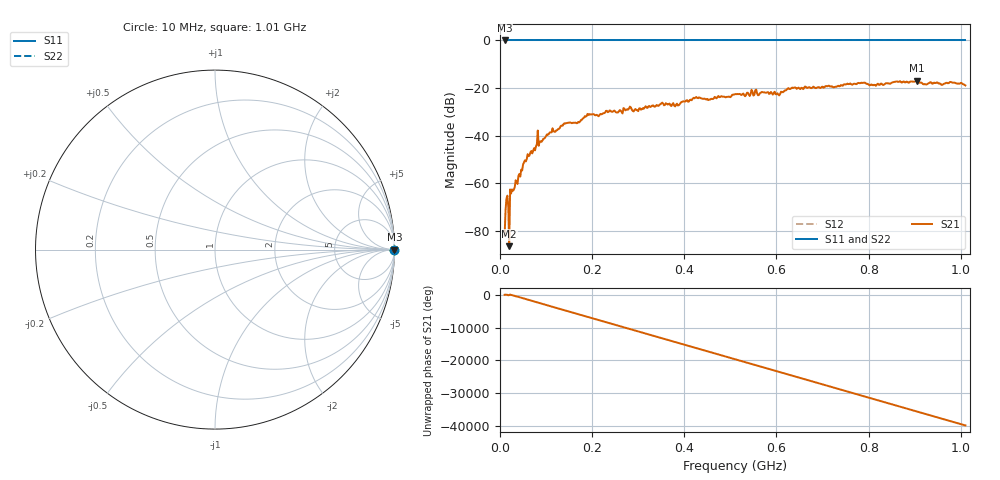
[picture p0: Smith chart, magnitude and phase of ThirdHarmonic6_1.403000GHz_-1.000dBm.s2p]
! 8/16/2025 4:03:11 PM
! C:\ANRITSUVNA\TEMP\TEMP.S2P
! CHANNEL.1
! TR.MEASUREMENT
! RAW.DATA
! RF.CORRECTION.OFF
! AVERAGING.OFF
! IF.BANDWIDTH: 5KHZ
! SWEEPTYPE:  FREQ.SWEEP(Linear)
! Reference Plane Port Info
! PORT:  PORT1  PORT2
! DISTANCE:  0  m  0  m
! TIME:  0  s  0  s
! PHASE.OFFSET:  0  deg.  0  deg.
! LOSS:  0  dB  0  dB
! REF.LOSS:  0  dB  0  dB
! REF.FREQ:  0  Hz  0  Hz
! Power Info
! POWER:  -20  dBm  -20  dBm
! EFF.POWER:  -20  dBm  -20  dBm
! SOURCE.ATTEN:  0  dB  0  dB
! TEST.ATTEN:  0  dB  0  dB
# GHZ S RI R 50.0
! FREQ.GHZ  S11RE  S11IM  S21RE  S21IM  S12RE  S12IM  S22RE  S22IM
!; PortSelection: Port_12
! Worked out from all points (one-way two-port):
!   501 points, 10 MHz to 1.01 GHz, reference 50 ohm
!   highest |S21| = -16.86 dB at 904 MHz (marker M1); lowest = -86.5 dB at 20 MHz (marker M2)
!   lowest |S11| = 0.0 dB at 10 MHz (marker M3)
!   |S11| at or under -10 dB: nowhere
!   |S22| runs from 0.0 to 0.0 dB; largest |S21 - S12| = 1.1
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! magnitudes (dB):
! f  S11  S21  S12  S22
! 10 MHz  0.0  -82.2  0.0  0.0
! 14 MHz  0.0  -66.5  0.0  0.0
! 20 MHz  0.0  -86.5  0.0  0.0
! 24 MHz  0.0  -64.4  0.0  0.0
! 26 MHz  0.0  -62.7  0.0  0.0
! 56 MHz  0.0  -50.9  0.0  0.0
! 74 MHz  0.0  -45.3  0.0  0.0
! 82 MHz  0.0  -37.9  0.0  0.0
! 142 MHz  0.0  -35.0  0.0  0.0
! 178 MHz  0.0  -33.3  0.0  0.0
! 194 MHz  0.0  -31.0  0.0  0.0
! 344 MHz  0.0  -27.5  0.0  0.0
! 384 MHz  0.0  -26.6  0.0  0.0
! 422 MHz  0.0  -24.3  0.0  0.0
! 456 MHz  0.0  -24.9  0.0  0.0
! 510 MHz  0.0  -22.6  0.0  0.0
! 604 MHz  0.0  -22.8  0.0  0.0
! 636 MHz  0.0  -20.0  0.0  0.0
! 678 MHz  0.0  -19.8  0.0  0.0
! 844 MHz  0.0  -18.1  0.0  0.0
! 904 MHz  0.0  -16.9  0.0  0.0
! 1.01 GHz  0.0  -18.9  0.0  0.0
